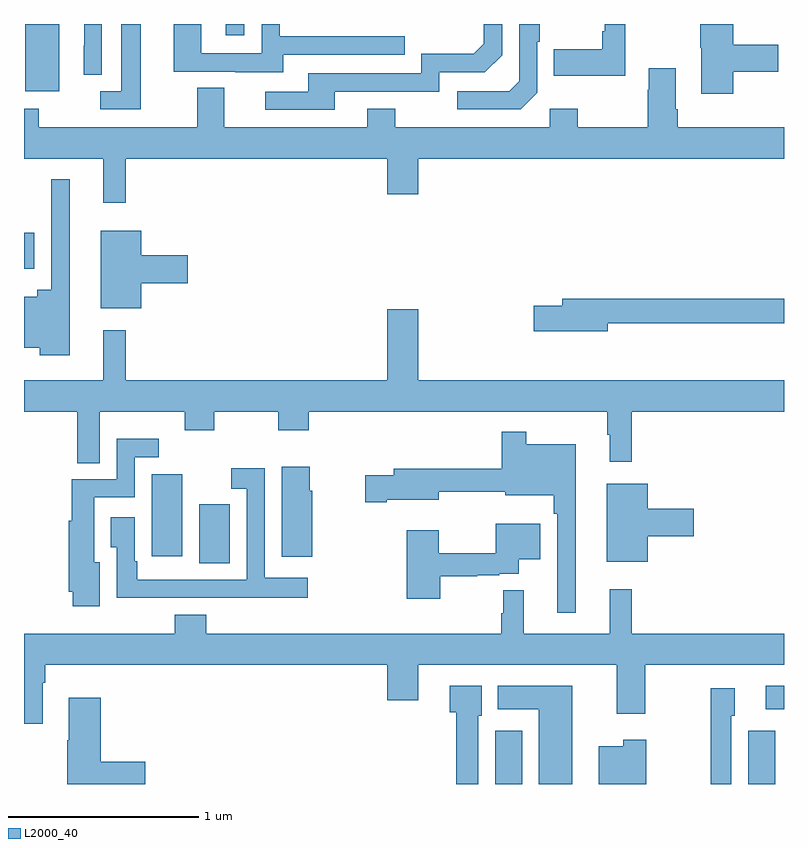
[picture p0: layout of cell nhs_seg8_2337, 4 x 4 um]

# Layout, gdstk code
import gdstk
lib = gdstk.Library(unit=1e-6, precision=1e-09)
def R(c, l, rs):  # rectangles x0, y0, x1, y1
    for r in rs: c.add(gdstk.rectangle(r[:2], r[2:], *l))
def P(c, l, *ps):  # polygons
    for p in ps: c.add(gdstk.Polygon(p, *l))
L2000_40 = (2000, 40)

nhs_seg8_2337 = lib.new_cell('nhs_seg8_2337')
R(nhs_seg8_2337, L2000_40, [(261.479,1087.9,261.622,1088.179), (262.811,1087.9,262.954,1088.179), (262.905,1088.294,263,1088.416), (259.922,1089.061,260.083,1089.372), (259.673,1089.098,259.834,1089.529), (259,1090.613,259.054,1090.801), (259.007,1091.546,259.186,1091.9), (260.063,1091.841,260.16,1091.9)])
P(nhs_seg8_2337, L2000_40, [(259.615,1091.9),(259.511,1091.9),(259.511,1091.547),(259.401,1091.547),(259.401,1091.451),(259.615,1091.451)],
  [(262.733,1091.65),(262.969,1091.65),(262.969,1091.792),(262.733,1091.792),(262.733,1091.9),(262.558,1091.9),(262.558,1091.775),(262.565,1091.775),(262.565,1091.532),(262.733,1091.532)],
  [(261.702,1091.538),(261.702,1091.807),(261.715,1091.807),(261.715,1091.9),(261.606,1091.9),(261.606,1091.598),(261.555,1091.547),(261.279,1091.547),(261.279,1091.451),(261.615,1091.451)],
  [(259.41,1091.9),(259.316,1091.9),(259.316,1091.786),(259.314,1091.786),(259.314,1091.632),(259.41,1091.632)],
  [(260.365,1091.739),(261.005,1091.739),(261.005,1091.835),(260.346,1091.835),(260.346,1091.9),(260.25,1091.9),(260.25,1091.745),(259.932,1091.745),(259.932,1091.9),(259.787,1091.9),(259.787,1091.649),(260.111,1091.649),(260.111,1091.645),(260.365,1091.645)],
  [(260.635,1091.544),(261.186,1091.544),(261.186,1091.646),(261.426,1091.646),(261.516,1091.736),(261.516,1091.9),(261.42,1091.9),(261.42,1091.796),(261.367,1091.743),(261.09,1091.743),(261.09,1091.64),(260.495,1091.64),(260.495,1091.544),(260.271,1091.544),(260.271,1091.448),(260.635,1091.448)],
  [(262.165,1091.9),(262.056,1091.9),(262.056,1091.863),(262.044,1091.863),(262.044,1091.767),(261.787,1091.767),(261.787,1091.627),(262.165,1091.627)],
  [(262.429,1091.452),(262.429,1091.668),(262.289,1091.668),(262.289,1091.555),(262.282,1091.555),(262.282,1091.356),(261.915,1091.356),(261.915,1091.455),(261.768,1091.455),(261.768,1091.356),(260.955,1091.356),(260.955,1091.455),(260.807,1091.455),(260.807,1091.356),(260.053,1091.356),(260.053,1091.564),(259.913,1091.564),(259.913,1091.356),(259.077,1091.356),(259.077,1091.455),(259,1091.455),(259,1091.192),(259.418,1091.192),(259.418,1090.959),(259.535,1090.959),(259.535,1091.192),(260.912,1091.192),(260.912,1091.004),(261.076,1091.004),(261.076,1091.192),(263,1091.192),(263,1091.356),(262.442,1091.356),(262.442,1091.452)],
  [(259.24,1091.083),(259.143,1091.083),(259.143,1090.501),(259.07,1090.501),(259.07,1090.465),(259,1090.465),(259,1090.196),(259.082,1090.196),(259.082,1090.157),(259.24,1090.157)],
  [(259.618,1090.535),(259.861,1090.535),(259.861,1090.682),(259.618,1090.682),(259.618,1090.813),(259.403,1090.813),(259.403,1090.403),(259.618,1090.403)],
  [(262.072,1090.326),(263,1090.326),(263,1090.454),(261.833,1090.454),(261.833,1090.418),(261.684,1090.418),(261.684,1090.283),(262.072,1090.283)],
  [(259.399,1089.86),(259.846,1089.86),(259.846,1089.761),(260.001,1089.761),(260.001,1089.86),(260.338,1089.86),(260.338,1089.761),(260.498,1089.761),(260.498,1089.86),(262.071,1089.86),(262.071,1089.737),(262.082,1089.737),(262.082,1089.597),(262.199,1089.597),(262.199,1089.86),(263,1089.86),(263,1090.024),(261.076,1090.024),(261.076,1090.399),(260.912,1090.399),(260.912,1090.024),(259.535,1090.024),(259.535,1090.288),(259.418,1090.288),(259.418,1090.024),(259,1090.024),(259,1089.86),(259.281,1089.86),(259.281,1089.589),(259.399,1089.589)],
  [(261.904,1089.688),(261.643,1089.688),(261.643,1089.754),(261.514,1089.754),(261.514,1089.559),(260.945,1089.559),(260.945,1089.525),(260.796,1089.525),(260.796,1089.383),(260.908,1089.383),(260.908,1089.395),(261.184,1089.395),(261.184,1089.438),(261.533,1089.438),(261.533,1089.419),(261.787,1089.419),(261.787,1089.323),(261.807,1089.323),(261.807,1088.802),(261.904,1088.802)],
  [(259.399,1089.067),(259.369,1089.067),(259.369,1089.408),(259.584,1089.408),(259.584,1089.621),(259.708,1089.621),(259.708,1089.718),(259.488,1089.718),(259.488,1089.504),(259.251,1089.504),(259.251,1089.285),(259.235,1089.285),(259.235,1088.913),(259.256,1088.913),(259.256,1088.835),(259.399,1088.835)],
  [(260.518,1089.444),(260.503,1089.444),(260.503,1089.571),(260.357,1089.571),(260.357,1089.096),(260.518,1089.096)],
  [(259.709,1088.88),(260.075,1088.88),(260.075,1088.879),(260.494,1088.879),(260.494,1088.986),(260.268,1088.986),(260.268,1089.562),(260.091,1089.562),(260.091,1089.453),(260.172,1089.453),(260.172,1088.976),(259.596,1088.976),(259.596,1089.073),(259.584,1089.073),(259.584,1089.304),(259.457,1089.304),(259.457,1089.145),(259.488,1089.145),(259.488,1088.879),(259.709,1088.879)],
  [(262.282,1089.203),(262.525,1089.203),(262.525,1089.35),(262.282,1089.35),(262.282,1089.481),(262.067,1089.481),(262.067,1089.071),(262.282,1089.071)],
  [(261.192,1088.994),(261.386,1088.994),(261.386,1088.999),(261.5,1088.999),(261.5,1089.006),(261.604,1089.006),(261.604,1089.083),(261.718,1089.083),(261.718,1089.271),(261.482,1089.271),(261.482,1089.115),(261.184,1089.115),(261.184,1089.235),(261.014,1089.235),(261.014,1088.874),(261.192,1088.874)],
  [(260.912,1088.34),(261.076,1088.34),(261.076,1088.528),(262.121,1088.528),(262.121,1088.271),(262.269,1088.271),(262.269,1088.528),(263,1088.528),(263,1088.692),(262.199,1088.692),(262.199,1088.926),(262.082,1088.926),(262.082,1088.692),(261.629,1088.692),(261.629,1088.921),(261.523,1088.921),(261.523,1088.799),(261.511,1088.799),(261.511,1088.692),(259.958,1088.692),(259.958,1088.791),(259.793,1088.791),(259.793,1088.692),(259,1088.692),(259,1088.217),(259.099,1088.217),(259.099,1088.432),(259.112,1088.432),(259.112,1088.528),(260.912,1088.528)],
  [(261.886,1088.416),(261.494,1088.416),(261.494,1088.294),(261.71,1088.294),(261.71,1087.9),(261.886,1087.9)],
  [(261.39,1088.259),(261.409,1088.259),(261.409,1088.416),(261.24,1088.416),(261.24,1088.278),(261.274,1088.278),(261.274,1087.9),(261.39,1087.9)],
  [(262.722,1088.259),(262.741,1088.259),(262.741,1088.404),(262.614,1088.404),(262.614,1087.9),(262.722,1087.9)],
  [(259.639,1088.018),(259.403,1088.018),(259.403,1088.353),(259.235,1088.353),(259.235,1088.129),(259.228,1088.129),(259.228,1087.9),(259.639,1087.9)],
  [(262.276,1088.134),(262.154,1088.134),(262.154,1088.098),(262.025,1088.098),(262.025,1087.9),(262.276,1087.9)])

lib.write_gds('nhs_seg8_2337.gds')
